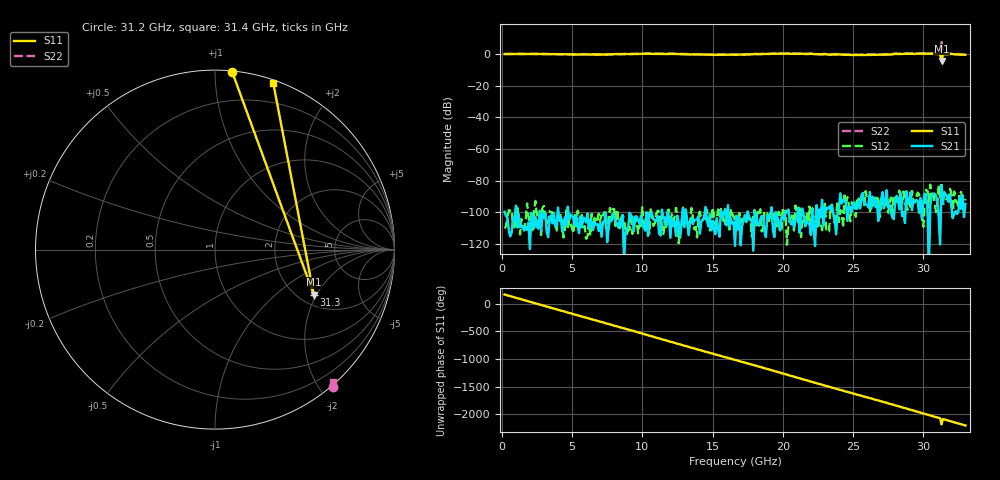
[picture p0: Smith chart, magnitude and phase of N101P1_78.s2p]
# GHZ S RI R 50
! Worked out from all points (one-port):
!   329 points, 200 MHz to 33 GHz, reference 50 ohm
!   lowest |S11| = -4.4 dB at 31.3 GHz (marker M1), VSWR 4.06, Z = 120 - j94.5 ohm
!   |S11| at or under -10 dB: nowhere
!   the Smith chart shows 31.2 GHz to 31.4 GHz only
!   S11 on the Smith chart (normalised r, x): 31.2 GHz: 0.01, +1.10; 31.3 GHz: 2.39, -1.89; 31.4 GHz: 0.02, +1.41
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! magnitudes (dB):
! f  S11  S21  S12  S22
! 200 MHz  0.0  -99.7  -110.1  0.0
! 5.7 GHz  -0.3  -109.3  -101.7  -0.2
! 11.2 GHz  0.1  -113.4  -99.5  0.2
! 12 GHz  0.2  -116.1  -108.4  0.3
! 15 GHz  -0.6  -105.7  -96.9  -0.4
! 16.6 GHz  -0.5  -121.2  -105.2  -0.3
! 20 GHz  0.2  -102.2  -97.1  0.4
! 22.1 GHz  0.1  -98.0  -97.4  0.1
! 23 GHz  -0.1  -96.5  -94.6  0.1
! 23.4 GHz  -0.5  -98.5  -95.8  -0.5
! 23.6 GHz  -0.2  -101.1  -99.1  0.0
! 24 GHz  -0.1  -97.5  -106.1  0.1
! 24.2 GHz  -0.4  -94.5  -99.4  -0.3
! 25 GHz  -0.7  -94.8  -95.8  -0.5
! 27.6 GHz  -0.2  -95.1  -94.9  0.0
! 28.8 GHz  0.2  -86.7  -95.9  0.2
! 30 GHz  0.2  -93.7  -109.2  0.5
! 31.2 GHz  -0.1  -120.3  -90.5  0.1
! 31.3 GHz  -4.4  -83.0  -81.1  8.6
! 31.4 GHz  -0.1  -94.2  -94.6  -0.1
! 32 GHz  0.1  -96.2  -88.0  0.2
! 33 GHz  -0.5  -94.8  -91.6  -0.3
